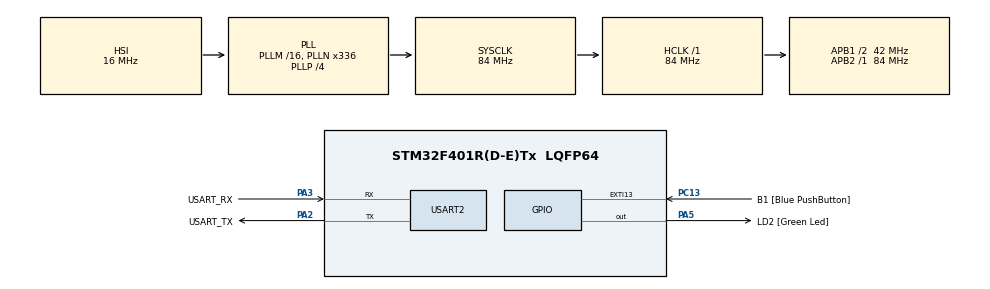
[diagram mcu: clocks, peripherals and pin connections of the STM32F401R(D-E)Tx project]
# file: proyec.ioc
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Mcu.Family=STM32F4
PC15-OSC32_OUT.Mode=LSE-External-Oscillator
PA2.GPIO_PuPd=GPIO_NOPULL
RCC.CortexFreq_Value=84000000
PC13-ANTI_TAMP.GPIO_PuPd=GPIO_NOPULL
PC13-ANTI_TAMP.GPIO_Label=B1 [Blue PushButton]
PA14.GPIO_Label=TCK
PA3.GPIO_PuPd=GPIO_NOPULL
PH1\ -\ OSC_OUT.Mode=HSE-External-Clock-Source
PA2.GPIO_Speed=GPIO_SPEED_FREQ_LOW
RCC.APB1CLKDivider=RCC_HCLK_DIV2
PC14-OSC32_IN.Signal=RCC_OSC32_IN
PA3.GPIO_Speed=GPIO_SPEED_FREQ_LOW
RCC.SYSCLKSource=RCC_SYSCLKSOURCE_PLLCLK
ProjectManager.StackSize=0x400
PA13.Signal=SYS_JTMS-SWDIO
PA3.Mode=Asynchronous
PH0\ -\ OSC_IN.Mode=HSE-External-Clock-Source
PH0\ -\ OSC_IN.Signal=RCC_OSC_IN
ProjectManager.TargetToolchain=STM32CubeIDE
PA3.GPIO_Mode=GPIO_MODE_AF_PP
RCC.HCLKFreq_Value=84000000
RCC.APB2TimFreq_Value=84000000
PC15-OSC32_OUT.Signal=RCC_OSC32_OUT
RCC.AHBFreq_Value=84000000
PA5.Signal=GPIO_Output
RCC.HSE_VALUE=8000000
PH1\ -\ OSC_OUT.Signal=RCC_OSC_OUT
board=NUCLEO-F401RE
PC13-ANTI_TAMP.Signal=GPXTI13
RCC.VCOOutputFreq_Value=336000000
RCC.APB2Freq_Value=84000000
PC14-OSC32_IN.Mode=LSE-External-Oscillator
PA14.Mode=Serial_Wire
PA5.GPIO_PuPd=GPIO_NOPULL
PA13.Mode=Serial_Wire
Mcu.Name=STM32F401R(D-E)Tx
PA2.Signal=USART2_TX
PA13.GPIO_Label=TMS
RCC.48MHZClocksFreq_Value=48000000
PB3.Signal=SYS_JTDO-SWO
RCC.SYSCLKFreq_VALUE=84000000
Mcu.Package=LQFP64
PA5.GPIO_Label=LD2 [Green Led]
USART2.VirtualMode=VM_ASYNC
PC13-ANTI_TAMP.GPIO_ModeDefaultEXTI=GPIO_MODE_IT_FALLING
PA2.GPIO_Label=USART_TX
PA14.Signal=SYS_JTCK-SWCLK
ProjectManager.HeapSize=0x200
RCC.HSI_VALUE=16000000
RCC.PLLP=RCC_PLLP_DIV4
PA5.GPIO_Speed=GPIO_SPEED_FREQ_LOW
RCC.PLLQ=7
NVIC.PriorityGroup=NVIC_PRIORITYGROUP_0
RCC.PLLN=336
RCC.APB1TimFreq_Value=84000000
PA2.Mode=Asynchronous
RCC.APB1Freq_Value=42000000
PA5.GPIO_Mode=GPIO_MODE_OUTPUT_PP
PA3.GPIO_Label=USART_RX
PA3.Signal=USART2_RX
PA2.GPIO_Mode=GPIO_MODE_AF_PP
PB3.GPIO_Label=SWO

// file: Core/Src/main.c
/* USER CODE BEGIN Header */
/**
  ******************************************************************************
  * @file           : main.c
  * @brief          : Main program body
  ******************************************************************************
  * @attention
  *
  * <h2><center>&copy; Copyright (c) 2021 STMicroelectronics.
  * All rights reserved.</center></h2>
  *
  * This software component is licensed by ST under BSD 3-Clause license,
  * the "License"; You may not use this file except in compliance with the
  * License. You may obtain a copy of the License at:
  *                        opensource.org/licenses/BSD-3-Clause
  *
  ******************************************************************************
  */
/* USER CODE END Header */
#include "main.h"

/* USER CODE BEGIN Includes */
#include <stdio.h>
/* USER CODE END Includes */

/* USER CODE BEGIN PD */
#define DELAY_MS 500
#define LED 0
/* USER CODE END PD */

UART_HandleTypeDef huart2;

void SystemClock_Config(void);
static void MX_GPIO_Init(void);
static void MX_USART2_UART_Init(void);
/* USER CODE BEGIN PFP */
extern void ejercicio_s(uint8_t *, uint8_t *, uint32_t);
void ejercicio_c(uint8_t *, uint8_t *, uint32_t);
/* USER CODE END PFP */

/* USER CODE BEGIN 0 */
void ejercicio_c(uint8_t *vecIn, uint8_t *vecOut, uint32_t length) {

	int aux_1 = 0;
	int aux_2 = 0;
	int aux_3 = 0;
	int i = 0;

	for (; i < length; i++) {
		aux_2 = vecIn[i];
		aux_1 = aux_1 + aux_2;
	}

	aux_1 = aux_1 / length;
	i = 0;
	for (; i < length; i++) {
		aux_2 = vecIn[i];
		aux_3 = aux_2 - aux_1;
		vecOut[i] = aux_3;
	}
}
/* USER CODE END 0 */

int main(void)
{

  /* MCU Configuration--------------------------------------------------------*/

  /* Reset of all peripherals, Initializes the Flash interface and the Systick. */
  HAL_Init();

  /* Configure the system clock */
  SystemClock_Config();

  /* Initialize all configured peripherals */
  MX_GPIO_Init();
  MX_USART2_UART_Init();
  /* USER CODE BEGIN 2 */
  //uint32_t tam = 8;
  uint8_t vectorIn[] = {1,2,3,4,5,6,7,8,9,10,11,12};
  uint32_t largo = sizeof(vectorIn) / sizeof( vectorIn[0] );
  uint8_t vectorOut[largo];
  ejercicio_c (vectorIn, vectorOut, largo);

  /* USER CODE END 2 */

  /* Infinite loop */
  while (1)
  {
    /* USER CODE BEGIN 3 */
    __WFI();
  }
  /* USER CODE END 3 */
}

void SystemClock_Config(void)
{
  RCC_OscInitTypeDef RCC_OscInitStruct = {0};
  RCC_ClkInitTypeDef RCC_ClkInitStruct = {0};

  /** Configure the main internal regulator output voltage
  */
  __HAL_RCC_PWR_CLK_ENABLE();
  __HAL_PWR_VOLTAGESCALING_CONFIG(PWR_REGULATOR_VOLTAGE_SCALE2);
  /** Initializes the RCC Oscillators according to the specified parameters
  * in the RCC_OscInitTypeDef structure.
  */
  RCC_OscInitStruct.OscillatorType = RCC_OSCILLATORTYPE_HSI;
  RCC_OscInitStruct.HSIState = RCC_HSI_ON;
  RCC_OscInitStruct.HSICalibrationValue = RCC_HSICALIBRATION_DEFAULT;
  RCC_OscInitStruct.PLL.PLLState = RCC_PLL_ON;
  RCC_OscInitStruct.PLL.PLLSource = RCC_PLLSOURCE_HSI;
  RCC_OscInitStruct.PLL.PLLM = 16;
  RCC_OscInitStruct.PLL.PLLN = 336;
  RCC_OscInitStruct.PLL.PLLP = RCC_PLLP_DIV4;
  RCC_OscInitStruct.PLL.PLLQ = 7;
  if (HAL_RCC_OscConfig(&RCC_OscInitStruct) != HAL_OK)
  {
    Error_Handler();
  }
  /** Initializes the CPU, AHB and APB buses clocks
  */
  RCC_ClkInitStruct.ClockType = RCC_CLOCKTYPE_HCLK|RCC_CLOCKTYPE_SYSCLK
                              |RCC_CLOCKTYPE_PCLK1|RCC_CLOCKTYPE_PCLK2;
  RCC_ClkInitStruct.SYSCLKSource = RCC_SYSCLKSOURCE_PLLCLK;
  RCC_ClkInitStruct.AHBCLKDivider = RCC_SYSCLK_DIV1;
  RCC_ClkInitStruct.APB1CLKDivider = RCC_HCLK_DIV2;
  RCC_ClkInitStruct.APB2CLKDivider = RCC_HCLK_DIV1;

  if (HAL_RCC_ClockConfig(&RCC_ClkInitStruct, FLASH_LATENCY_2) != HAL_OK)
  {
    Error_Handler();
  }
}

static void MX_USART2_UART_Init(void)
{

  huart2.Instance = USART2;
  huart2.Init.BaudRate = 115200;
  huart2.Init.WordLength = UART_WORDLENGTH_8B;
  huart2.Init.StopBits = UART_STOPBITS_1;
  huart2.Init.Parity = UART_PARITY_NONE;
  huart2.Init.Mode = UART_MODE_TX_RX;
  huart2.Init.HwFlowCtl = UART_HWCONTROL_NONE;
  huart2.Init.OverSampling = UART_OVERSAMPLING_16;
  if (HAL_UART_Init(&huart2) != HAL_OK)
  {
    Error_Handler();
  }

}

static void MX_GPIO_Init(void)
{
  GPIO_InitTypeDef GPIO_InitStruct = {0};

  /* GPIO Ports Clock Enable */
  __HAL_RCC_GPIOC_CLK_ENABLE();
  __HAL_RCC_GPIOH_CLK_ENABLE();
  __HAL_RCC_GPIOA_CLK_ENABLE();
  __HAL_RCC_GPIOB_CLK_ENABLE();

  /*Configure GPIO pin Output Level */
  HAL_GPIO_WritePin(LD2_GPIO_Port, LD2_Pin, GPIO_PIN_RESET);

  /*Configure GPIO pin : B1_Pin */
  GPIO_InitStruct.Pin = B1_Pin;
  GPIO_InitStruct.Mode = GPIO_MODE_IT_FALLING;
  GPIO_InitStruct.Pull = GPIO_NOPULL;
  HAL_GPIO_Init(B1_GPIO_Port, &GPIO_InitStruct);

  /*Configure GPIO pin : LD2_Pin */
  GPIO_InitStruct.Pin = LD2_Pin;
  GPIO_InitStruct.Mode = GPIO_MODE_OUTPUT_PP;
  GPIO_InitStruct.Pull = GPIO_NOPULL;
  GPIO_InitStruct.Speed = GPIO_SPEED_FREQ_LOW;
  HAL_GPIO_Init(LD2_GPIO_Port, &GPIO_InitStruct);

}

/* USER CODE BEGIN 4 */
void zeroEnC(uint32_t * vector, uint32_t longitud)
{
  uint32_t i;
  i=0;
  for(;i<longitud;)
  {
    vector[i]=0;
    i++;
  }
}
int __io_putchar(int ch)
{
 uint8_t c[1];
 c[0] = ch & 0x00FF;
 HAL_UART_Transmit(&huart2, &*c, 1, 10);
 return ch;
}

int _write(int file,char *ptr, int len)
{
 int DataIdx;
 for(DataIdx= 0; DataIdx< len; DataIdx++)
 {
 __io_putchar(*ptr++);
 }
return len;
}

/* USER CODE END 4 */

void Error_Handler(void)
{
  __disable_irq();
  while (1)
  {
  }
}

/************************ (C) COPYRIGHT STMicroelectronics *****END OF FILE****/
